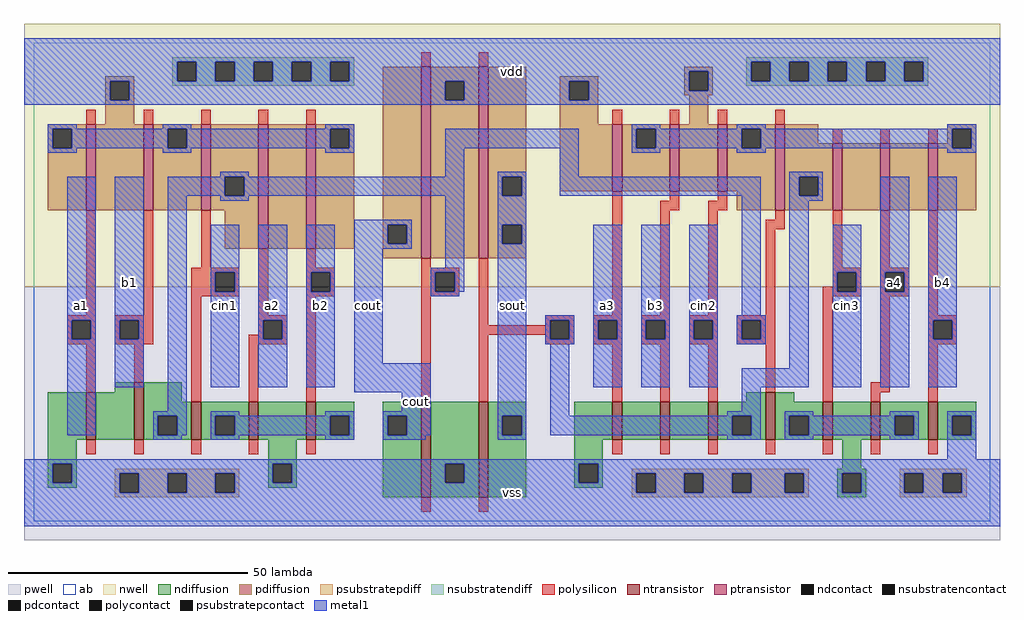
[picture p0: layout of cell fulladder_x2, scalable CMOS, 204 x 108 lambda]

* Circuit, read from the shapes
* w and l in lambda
.subckt fulladder_x2 a1 a2 a3 a4 b1 b2 b3 b4 cin1 cin2 cin3 cout sout vdd vss
M1 n1 a1 vss vss nfet w=10 l=2
M2 n2 b1 n1 vss nfet w=12 l=2
M3 n3 cin1 n2 vss nfet w=8 l=2
M4 vss a2 n3 vss nfet w=8 l=2
M5 n3 b2 vss vss nfet w=8 l=2
M6 vss n2 cout vss nfet w=20 l=2
M7 sout n4 vss vss nfet w=20 l=2
M8 n5 a3 vss vss nfet w=8 l=2
M9 n6 b3 n5 vss nfet w=8 l=2
M10 n4 cin2 n6 vss nfet w=8 l=2
M11 n7 n2 n4 vss nfet w=10 l=2
M12 vss cin3 n7 vss nfet w=8 l=2
M13 n7 a4 vss vss nfet w=8 l=2
M14 vss b4 n7 vss nfet w=8 l=2
M15 vdd a1 n8 vdd pfet w=18 l=2
M16 n8 b1 vdd vdd pfet w=18 l=2
M17 n2 cin1 n8 vdd pfet w=18 l=2
M18 n9 a2 n2 vdd pfet w=26 l=2
M19 n8 b2 n9 vdd pfet w=26 l=2
M20 vdd n2 cout vdd pfet w=40 l=2
M21 sout n4 vdd vdd pfet w=40 l=2
M22 n10 a3 vdd vdd pfet w=14 l=2
M23 vdd b3 n10 vdd pfet w=14 l=2
M24 n10 cin2 vdd vdd pfet w=14 l=2
M25 n4 n2 n10 vdd pfet w=18 l=2
M26 n11 cin3 n4 vdd pfet w=14 l=2
M27 n12 a4 n11 vdd pfet w=14 l=2
M28 n10 b4 n12 vdd pfet w=14 l=2
.ends

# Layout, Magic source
magic
tech scmos
<< ab >>
rect 0 0 200 100
<< pwell >>
rect -2 -4 202 49
<< nwell >>
rect -2 49 202 104
<< polysilicon >>
rect 81 95 83 98
rect 93 95 95 98
rect 11 83 13 86
rect 23 83 25 86
rect 35 83 37 86
rect 47 83 49 86
rect 57 83 59 86
rect 11 43 13 65
rect 23 43 25 65
rect 35 53 37 65
rect 7 42 13 43
rect 7 38 8 42
rect 12 38 13 42
rect 7 37 13 38
rect 17 42 25 43
rect 17 38 18 42
rect 22 38 25 42
rect 17 37 25 38
rect 33 52 43 53
rect 33 48 38 52
rect 42 48 43 52
rect 33 47 43 48
rect 11 27 13 37
rect 21 29 23 37
rect 33 25 35 47
rect 47 43 49 57
rect 57 53 59 57
rect 121 83 123 86
rect 133 83 135 86
rect 143 83 145 86
rect 155 83 157 86
rect 81 53 83 55
rect 57 52 63 53
rect 57 48 58 52
rect 62 48 63 52
rect 57 47 63 48
rect 81 52 89 53
rect 81 48 84 52
rect 88 48 89 52
rect 81 47 89 48
rect 47 42 53 43
rect 47 39 48 42
rect 45 38 48 39
rect 52 38 53 42
rect 45 37 53 38
rect 45 25 47 37
rect 57 25 59 47
rect 81 25 83 47
rect 93 41 95 55
rect 121 43 123 69
rect 133 67 135 69
rect 143 67 145 69
rect 131 65 135 67
rect 141 65 145 67
rect 167 79 169 82
rect 177 79 179 82
rect 187 79 189 82
rect 131 43 133 65
rect 141 43 143 65
rect 155 63 157 65
rect 153 61 157 63
rect 153 43 155 61
rect 167 53 169 65
rect 177 53 179 65
rect 167 52 173 53
rect 167 49 168 52
rect 107 42 113 43
rect 107 41 108 42
rect 93 39 108 41
rect 93 25 95 39
rect 107 38 108 39
rect 112 38 113 42
rect 107 37 113 38
rect 117 42 123 43
rect 117 38 118 42
rect 122 38 123 42
rect 117 37 123 38
rect 127 42 133 43
rect 127 38 128 42
rect 132 38 133 42
rect 127 37 133 38
rect 137 42 143 43
rect 137 38 138 42
rect 142 38 143 42
rect 137 37 143 38
rect 147 42 155 43
rect 147 38 148 42
rect 152 38 155 42
rect 147 37 155 38
rect 121 25 123 37
rect 131 25 133 37
rect 141 25 143 37
rect 153 27 155 37
rect 165 48 168 49
rect 172 48 173 52
rect 165 47 173 48
rect 177 52 183 53
rect 177 48 178 52
rect 182 48 183 52
rect 177 47 183 48
rect 11 14 13 17
rect 21 14 23 17
rect 33 14 35 17
rect 45 14 47 17
rect 57 14 59 17
rect 165 25 167 47
rect 177 29 179 47
rect 175 27 179 29
rect 187 43 189 65
rect 187 42 193 43
rect 187 38 188 42
rect 192 38 193 42
rect 187 37 193 38
rect 175 25 177 27
rect 187 25 189 37
rect 121 14 123 17
rect 131 14 133 17
rect 141 14 143 17
rect 153 14 155 17
rect 165 14 167 17
rect 175 14 177 17
rect 187 14 189 17
rect 81 2 83 5
rect 93 2 95 5
<< ndiffusion >>
rect 17 27 21 29
rect 3 17 11 27
rect 13 17 21 27
rect 23 25 31 29
rect 149 25 153 27
rect 23 22 33 25
rect 23 18 26 22
rect 30 18 33 22
rect 23 17 33 18
rect 35 22 45 25
rect 35 18 38 22
rect 42 18 45 22
rect 35 17 45 18
rect 47 17 57 25
rect 59 22 67 25
rect 59 18 62 22
rect 66 18 67 22
rect 59 17 67 18
rect 73 22 81 25
rect 73 18 74 22
rect 78 18 81 22
rect 3 12 9 17
rect 3 8 4 12
rect 8 8 9 12
rect 49 12 55 17
rect 3 7 9 8
rect 49 8 50 12
rect 54 8 55 12
rect 49 7 55 8
rect 73 5 81 18
rect 83 12 93 25
rect 83 8 86 12
rect 90 8 93 12
rect 83 5 93 8
rect 95 22 103 25
rect 95 18 98 22
rect 102 18 103 22
rect 95 5 103 18
rect 113 17 121 25
rect 123 17 131 25
rect 133 17 141 25
rect 143 22 153 25
rect 143 18 146 22
rect 150 18 153 22
rect 143 17 153 18
rect 155 25 159 27
rect 155 22 165 25
rect 155 18 158 22
rect 162 18 165 22
rect 155 17 165 18
rect 167 17 175 25
rect 177 22 187 25
rect 177 18 180 22
rect 184 18 187 22
rect 177 17 187 18
rect 189 22 197 25
rect 189 18 192 22
rect 196 18 197 22
rect 189 17 197 18
rect 113 12 119 17
rect 113 8 114 12
rect 118 8 119 12
rect 169 11 173 17
rect 113 7 119 8
rect 168 10 174 11
rect 168 6 169 10
rect 173 6 174 10
rect 168 5 174 6
<< pdiffusion >>
rect 15 92 21 93
rect 15 88 16 92
rect 20 88 21 92
rect 15 83 21 88
rect 3 82 11 83
rect 3 78 4 82
rect 8 78 11 82
rect 3 65 11 78
rect 13 65 23 83
rect 25 82 35 83
rect 25 78 28 82
rect 32 78 35 82
rect 25 65 35 78
rect 37 72 47 83
rect 37 68 40 72
rect 44 68 47 72
rect 37 65 47 68
rect 40 57 47 65
rect 49 57 57 83
rect 59 82 67 83
rect 59 78 62 82
rect 66 78 67 82
rect 59 57 67 78
rect 73 62 81 95
rect 73 58 74 62
rect 78 58 81 62
rect 73 55 81 58
rect 83 92 93 95
rect 83 88 86 92
rect 90 88 93 92
rect 83 55 93 88
rect 95 72 103 95
rect 136 94 142 95
rect 95 68 98 72
rect 102 68 103 72
rect 110 92 118 93
rect 110 88 112 92
rect 116 88 118 92
rect 136 90 137 94
rect 141 90 142 94
rect 136 89 142 90
rect 110 83 118 88
rect 137 83 141 89
rect 110 69 121 83
rect 123 82 133 83
rect 123 78 126 82
rect 130 78 133 82
rect 123 69 133 78
rect 135 69 143 83
rect 145 82 155 83
rect 145 78 148 82
rect 152 78 155 82
rect 145 69 155 78
rect 95 62 103 68
rect 95 58 98 62
rect 102 58 103 62
rect 95 55 103 58
rect 147 65 155 69
rect 157 79 164 83
rect 191 82 197 83
rect 191 79 192 82
rect 157 72 167 79
rect 157 68 160 72
rect 164 68 167 72
rect 157 65 167 68
rect 169 65 177 79
rect 179 65 187 79
rect 189 78 192 79
rect 196 78 197 82
rect 189 65 197 78
<< metal1 >>
rect -2 96 202 101
rect -2 92 30 96
rect 34 92 38 96
rect 42 92 46 96
rect 50 92 54 96
rect 58 92 62 96
rect 66 94 150 96
rect 66 92 137 94
rect -2 88 16 92
rect 20 88 86 92
rect 90 88 112 92
rect 116 90 137 92
rect 141 92 150 94
rect 154 92 158 96
rect 162 92 166 96
rect 170 92 174 96
rect 178 92 182 96
rect 186 92 202 96
rect 141 90 202 92
rect 116 88 202 90
rect -2 87 202 88
rect 3 82 9 83
rect 27 82 33 83
rect 61 82 67 83
rect 125 82 131 83
rect 147 82 153 83
rect 191 82 197 83
rect 3 78 4 82
rect 8 78 28 82
rect 32 78 62 82
rect 66 78 67 82
rect 3 77 9 78
rect 27 77 33 78
rect 61 77 67 78
rect 86 78 114 82
rect 39 72 45 73
rect 86 72 90 78
rect 7 42 13 72
rect 7 38 8 42
rect 12 38 13 42
rect 7 18 13 38
rect 17 42 23 72
rect 17 38 18 42
rect 22 38 23 42
rect 17 28 23 38
rect 28 68 40 72
rect 44 68 90 72
rect 28 23 32 68
rect 39 67 45 68
rect 67 62 79 63
rect 37 52 43 62
rect 37 48 38 52
rect 42 48 43 52
rect 37 28 43 48
rect 47 42 53 62
rect 47 38 48 42
rect 52 38 53 42
rect 47 28 53 38
rect 57 52 63 62
rect 57 48 58 52
rect 62 48 63 52
rect 57 28 63 48
rect 67 58 74 62
rect 78 58 79 62
rect 67 57 79 58
rect 67 33 73 57
rect 86 53 90 68
rect 83 52 90 53
rect 83 48 84 52
rect 88 48 90 52
rect 97 72 103 73
rect 97 68 98 72
rect 102 68 103 72
rect 110 72 114 78
rect 125 78 126 82
rect 130 78 148 82
rect 152 78 192 82
rect 196 78 197 82
rect 125 77 131 78
rect 147 77 153 78
rect 191 77 197 78
rect 158 72 165 73
rect 110 68 152 72
rect 97 62 103 68
rect 97 58 98 62
rect 102 58 103 62
rect 83 47 89 48
rect 67 27 83 33
rect 77 23 83 27
rect 25 22 32 23
rect 25 18 26 22
rect 30 18 32 22
rect 37 22 43 23
rect 61 22 67 23
rect 37 18 38 22
rect 42 18 62 22
rect 66 18 67 22
rect 25 17 31 18
rect 37 17 43 18
rect 61 17 67 18
rect 73 22 83 23
rect 73 18 74 22
rect 78 18 83 22
rect 97 22 103 58
rect 107 42 113 43
rect 107 38 108 42
rect 112 38 113 42
rect 107 37 113 38
rect 117 42 123 62
rect 117 38 118 42
rect 122 38 123 42
rect 97 18 98 22
rect 102 18 103 22
rect 108 22 112 37
rect 117 28 123 38
rect 127 42 133 62
rect 127 38 128 42
rect 132 38 133 42
rect 127 28 133 38
rect 137 42 143 62
rect 148 43 152 68
rect 158 68 160 72
rect 164 68 165 72
rect 158 67 165 68
rect 137 38 138 42
rect 142 38 143 42
rect 137 28 143 38
rect 147 42 153 43
rect 147 38 148 42
rect 152 38 153 42
rect 147 37 153 38
rect 158 32 162 67
rect 148 28 162 32
rect 167 52 173 62
rect 167 48 168 52
rect 172 48 173 52
rect 167 28 173 48
rect 177 52 183 72
rect 177 48 178 52
rect 182 48 183 52
rect 177 28 183 48
rect 187 42 193 72
rect 187 38 188 42
rect 192 38 193 42
rect 187 28 193 38
rect 148 23 152 28
rect 145 22 152 23
rect 108 18 146 22
rect 150 18 152 22
rect 73 17 82 18
rect 97 17 103 18
rect 145 17 152 18
rect 157 22 163 23
rect 179 22 185 23
rect 157 18 158 22
rect 162 18 180 22
rect 184 18 185 22
rect 157 17 163 18
rect 179 17 185 18
rect 191 22 197 23
rect 191 18 192 22
rect 196 18 197 22
rect 191 13 197 18
rect -2 12 202 13
rect -2 8 4 12
rect 8 10 50 12
rect 8 8 18 10
rect -2 6 18 8
rect 22 6 28 10
rect 32 6 38 10
rect 42 8 50 10
rect 54 8 86 12
rect 90 8 114 12
rect 118 10 202 12
rect 118 8 126 10
rect 42 6 126 8
rect 130 6 136 10
rect 140 6 146 10
rect 150 6 157 10
rect 161 6 169 10
rect 173 6 182 10
rect 186 6 190 10
rect 194 6 202 10
rect -2 -1 202 6
<< ntransistor >>
rect 11 17 13 27
rect 21 17 23 29
rect 33 17 35 25
rect 45 17 47 25
rect 57 17 59 25
rect 81 5 83 25
rect 93 5 95 25
rect 121 17 123 25
rect 131 17 133 25
rect 141 17 143 25
rect 153 17 155 27
rect 165 17 167 25
rect 175 17 177 25
rect 187 17 189 25
<< ptransistor >>
rect 11 65 13 83
rect 23 65 25 83
rect 35 65 37 83
rect 47 57 49 83
rect 57 57 59 83
rect 81 55 83 95
rect 93 55 95 95
rect 121 69 123 83
rect 133 69 135 83
rect 143 69 145 83
rect 155 65 157 83
rect 167 65 169 79
rect 177 65 179 79
rect 187 65 189 79
<< polycontact >>
rect 8 38 12 42
rect 18 38 22 42
rect 38 48 42 52
rect 58 48 62 52
rect 84 48 88 52
rect 48 38 52 42
rect 108 38 112 42
rect 118 38 122 42
rect 128 38 132 42
rect 138 38 142 42
rect 148 38 152 42
rect 168 48 172 52
rect 178 48 182 52
rect 188 38 192 42
<< ndcontact >>
rect 26 18 30 22
rect 38 18 42 22
rect 62 18 66 22
rect 74 18 78 22
rect 4 8 8 12
rect 50 8 54 12
rect 86 8 90 12
rect 98 18 102 22
rect 146 18 150 22
rect 158 18 162 22
rect 180 18 184 22
rect 192 18 196 22
rect 114 8 118 12
rect 169 6 173 10
<< pdcontact >>
rect 16 88 20 92
rect 4 78 8 82
rect 28 78 32 82
rect 40 68 44 72
rect 62 78 66 82
rect 74 58 78 62
rect 86 88 90 92
rect 98 68 102 72
rect 112 88 116 92
rect 137 90 141 94
rect 126 78 130 82
rect 148 78 152 82
rect 98 58 102 62
rect 160 68 164 72
rect 192 78 196 82
<< psubstratepcontact >>
rect 18 6 22 10
rect 28 6 32 10
rect 38 6 42 10
rect 126 6 130 10
rect 136 6 140 10
rect 146 6 150 10
rect 157 6 161 10
rect 182 6 186 10
rect 190 6 194 10
<< nsubstratencontact >>
rect 30 92 34 96
rect 38 92 42 96
rect 46 92 50 96
rect 54 92 58 96
rect 62 92 66 96
rect 150 92 154 96
rect 158 92 162 96
rect 166 92 170 96
rect 174 92 178 96
rect 182 92 186 96
<< psubstratepdiff >>
rect 17 10 43 11
rect 17 6 18 10
rect 22 6 28 10
rect 32 6 38 10
rect 42 6 43 10
rect 17 5 43 6
rect 125 10 162 11
rect 125 6 126 10
rect 130 6 136 10
rect 140 6 146 10
rect 150 6 157 10
rect 161 6 162 10
rect 125 5 162 6
rect 181 10 195 11
rect 181 6 182 10
rect 186 6 190 10
rect 194 6 195 10
rect 181 5 195 6
<< nsubstratendiff >>
rect 29 96 67 97
rect 29 92 30 96
rect 34 92 38 96
rect 42 92 46 96
rect 50 92 54 96
rect 58 92 62 96
rect 66 92 67 96
rect 149 96 187 97
rect 29 91 67 92
rect 149 92 150 96
rect 154 92 158 96
rect 162 92 166 96
rect 170 92 174 96
rect 178 92 182 96
rect 186 92 187 96
rect 149 91 187 92
<< labels >>
rlabel metal1 10 45 10 45 6 a1
rlabel metal1 20 50 20 50 6 b1
rlabel metal1 20 50 20 50 6 b1
rlabel metal1 10 45 10 45 6 a1
rlabel metal1 40 45 40 45 6 cin1
rlabel metal1 40 45 40 45 6 cin1
rlabel metal1 70 45 70 45 6 cout
rlabel metal1 60 45 60 45 6 b2
rlabel metal1 50 45 50 45 6 a2
rlabel metal1 70 45 70 45 6 cout
rlabel metal1 50 45 50 45 6 a2
rlabel metal1 60 45 60 45 6 b2
rlabel metal1 100 6 100 6 6 vss
rlabel metal1 100 6 100 6 6 vss
rlabel metal1 80 25 80 25 6 cout
rlabel metal1 80 25 80 25 6 cout
rlabel metal1 100 45 100 45 6 sout
rlabel metal1 100 45 100 45 6 sout
rlabel metal1 100 94 100 94 6 vdd
rlabel metal1 100 94 100 94 6 vdd
rlabel metal1 120 45 120 45 6 a3
rlabel metal1 120 45 120 45 6 a3
rlabel metal1 140 45 140 45 6 cin2
rlabel metal1 130 45 130 45 6 b3
rlabel metal1 140 45 140 45 6 cin2
rlabel metal1 130 45 130 45 6 b3
rlabel polycontact 180 50 180 50 6 a4
rlabel metal1 190 50 190 50 6 b4
rlabel metal1 170 45 170 45 6 cin3
rlabel metal1 190 50 190 50 6 b4
rlabel polycontact 180 50 180 50 6 a4
rlabel metal1 170 45 170 45 6 cin3
<< end >>
